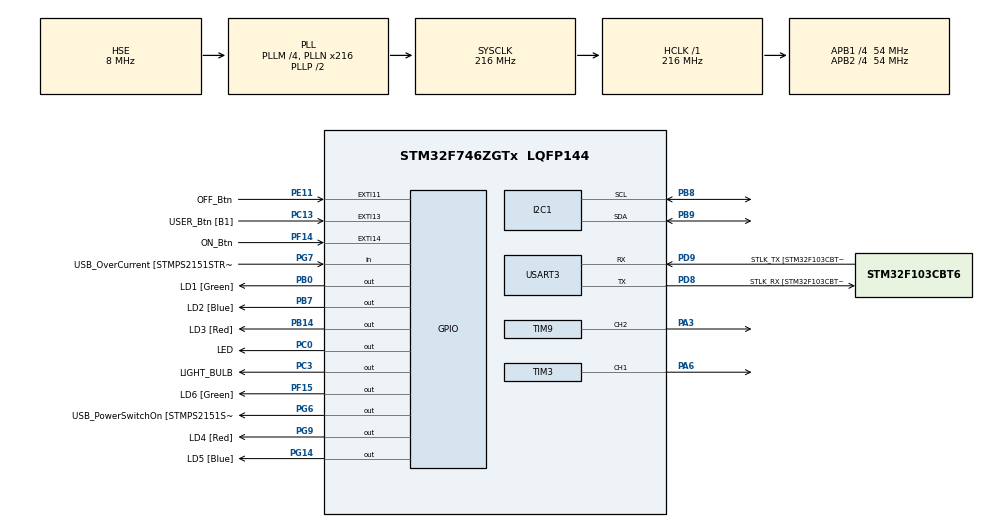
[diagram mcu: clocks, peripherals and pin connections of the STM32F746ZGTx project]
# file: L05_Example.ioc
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I2C1.Timing=0x20404768
Mcu.Family=STM32F7
Mcu.Name=STM32F746ZGTx
Mcu.Package=LQFP144
NVIC.PriorityGroup=NVIC_PRIORITYGROUP_4
NVIC.TIM3_IRQn=true\:0\:0\:false\:false\:true\:true\:true\:true
NVIC.TIM7_IRQn=true\:0\:0\:false\:false\:true\:true\:true\:true
NVIC.USART3_IRQn=true\:0\:0\:false\:false\:true\:true\:true\:true
PA1.GPIO_Label=RMII_REF_CLK [LAN8742A-CZ-TR_REFCLK0]
PA1.Signal=ETH_REF_CLK
PA10.GPIO_Label=USB_ID
PA10.Signal=USB_OTG_FS_ID
PA11.GPIO_Label=USB_DM
PA11.Signal=USB_OTG_FS_DM
PA12.GPIO_Label=USB_DP
PA12.Signal=USB_OTG_FS_DP
PA13.GPIO_Label=TMS
PA13.Mode=Serial_Wire
PA13.Signal=SYS_JTMS-SWDIO
PA14.GPIO_Label=TCK
PA14.Mode=Serial_Wire
PA14.Signal=SYS_JTCK-SWCLK
PA2.GPIO_Label=RMII_MDIO [LAN8742A-CZ-TR_MDIO]
PA2.Signal=ETH_MDIO
PA3.GPIO_PuPd=GPIO_PULLDOWN
PA3.Signal=S_TIM9_CH2
PA6.Signal=S_TIM3_CH1
PA7.GPIO_Label=RMII_CRS_DV [LAN8742A-CZ-TR_CRS_DV]
PA7.Signal=ETH_CRS_DV
PA8.GPIO_Label=USB_SOF [TP1]
PA8.Signal=USB_OTG_FS_SOF
PA9.GPIO_Label=USB_VBUS
PA9.Signal=USB_OTG_FS_VBUS
PB0.GPIO_Label=LD1 [Green]
PB0.Signal=GPIO_Output
PB13.GPIO_Label=RMII_TXD1 [LAN8742A-CZ-TR_TXD1]
PB13.Signal=ETH_TXD1
PB14.GPIO_Label=LD3 [Red]
PB14.Signal=GPIO_Output
PB3.GPIO_Label=SW0
PB3.Signal=SYS_JTDO-SWO
PB7.GPIO_Label=LD2 [Blue]
PB7.Signal=GPIO_Output
PB8.Mode=I2C
PB8.Signal=I2C1_SCL
PB9.Mode=I2C
PB9.Signal=I2C1_SDA
PC0.GPIO_Label=LED
PC0.Signal=GPIO_Output
PC1.GPIO_Label=RMII_MDC [LAN8742A-CZ-TR_MDC]
PC1.Signal=ETH_MDC
PC13.GPIO_Label=USER_Btn [B1]
PC13.Signal=GPXTI13
PC14/OSC32_IN.Mode=LSE-External-Oscillator
PC14/OSC32_IN.Signal=RCC_OSC32_IN
PC15/OSC32_OUT.Mode=LSE-External-Oscillator
PC15/OSC32_OUT.Signal=RCC_OSC32_OUT
PC3.GPIO_Label=LIGHT_BULB
PC3.Signal=GPIO_Output
PC4.GPIO_Label=RMII_RXD0 [LAN8742A-CZ-TR_RXD0]
PC4.Signal=ETH_RXD0
PC5.GPIO_Label=RMII_RXD1 [LAN8742A-CZ-TR_RXD1]
PC5.Signal=ETH_RXD1
PD8.GPIO_Label=STLK_RX [STM32F103CBT6_PA3]
PD8.GPIO_PuPd=GPIO_PULLUP
PD8.Mode=Asynchronous
PD8.Signal=USART3_TX
PD9.GPIO_Label=STLK_TX [STM32F103CBT6_PA2]
PD9.GPIO_PuPd=GPIO_PULLUP
PD9.Mode=Asynchronous
PD9.Signal=USART3_RX
PE11.GPIO_Label=OFF_Btn
PE11.GPIO_PuPd=GPIO_PULLDOWN
PE11.Signal=GPXTI11
PF14.GPIO_Label=ON_Btn
PF14.GPIO_ModeDefaultEXTI=GPIO_MODE_IT_FALLING
PF14.GPIO_PuPd=GPIO_PULLUP
PF14.Signal=GPXTI14
PF15.GPIO_Label=LD6 [Green]
PF15.Signal=GPIO_Output
PG11.GPIO_Label=RMII_TX_EN [LAN8742A-CZ-TR_TXEN]
PG11.Signal=ETH_TX_EN
PG13.GPIO_Label=RMII_TXD0 [LAN8742A-CZ-TR_TXD0]
PG13.Signal=ETH_TXD0
PG14.GPIO_Label=LD5 [Blue]
PG14.Signal=GPIO_Output
PG6.GPIO_Label=USB_PowerSwitchOn [STMPS2151STR_EN]
PG6.Signal=GPIO_Output
PG7.GPIO_Label=USB_OverCurrent [STMPS2151STR_FAULT]
PG7.Signal=GPIO_Input
PG9.GPIO_Label=LD4 [Red]
PG9.Signal=GPIO_Output
PH0/OSC_IN.GPIO_Label=MCO [STM32F103CBT6_PA8]
PH0/OSC_IN.Mode=HSE-External-Clock-Source
PH0/OSC_IN.Signal=RCC_OSC_IN
PH1/OSC_OUT.Mode=HSE-External-Clock-Source
PH1/OSC_OUT.Signal=RCC_OSC_OUT
ProjectManager.HeapSize=0x200
ProjectManager.StackSize=0x400
ProjectManager.TargetToolchain=STM32CubeIDE
RCC.48MHZClocksFreq_Value=24000000
RCC.AHBFreq_Value=216000000
RCC.APB1CLKDivider=RCC_HCLK_DIV4
RCC.APB1Freq_Value=54000000
RCC.APB1TimFreq_Value=108000000
RCC.APB2CLKDivider=RCC_HCLK_DIV4
RCC.APB2Freq_Value=54000000
RCC.APB2TimFreq_Value=108000000
RCC.CortexFreq_Value=216000000
RCC.HCLKFreq_Value=216000000
RCC.HSE_VALUE=8000000
RCC.HSI_VALUE=16000000
RCC.PLLM=4
RCC.PLLMUL=RCC_PLL_MUL9
RCC.PLLN=216
RCC.PLLQ=3
RCC.PLLSourceVirtual=RCC_PLLSOURCE_HSE
RCC.PRESCALERUSB=RCC_USBCLKSOURCE_PLL_DIV1_5
RCC.SYSCLKFreq_VALUE=216000000
RCC.SYSCLKSource=RCC_SYSCLKSOURCE_PLLCLK
RCC.SYSCLKSourceVirtual=RCC_SYSCLKSOURCE_PLLCLK
RCC.USBFreq_Value=144000000
RCC.VCOOutputFreq_Value=432000000
SH.S_TIM3_CH1.0=TIM3_CH1,PWM Generation1 CH1
SH.S_TIM9_CH2.0=TIM9_CH2,PWM Generation2 CH2
TIM1.Period=1000-1
TIM1.Prescaler=108-1
TIM3.Channel-PWM\ Generation1\ CH1=TIM_CHANNEL_1
TIM7.Period=19999
TIM7.Prescaler=1079
TIM9.Channel-PWM\ Generation2\ CH2=TIM_CHANNEL_2
TIM9.Period=999
TIM9.Prescaler=107
USART3.VirtualMode-Asynchronous=VM_ASYNC
VP_TIM1_VS_ClockSourceINT.Mode=Internal
VP_TIM3_VS_ClockSourceINT.Mode=Internal
VP_TIM7_VS_ClockSourceINT.Mode=Enable_Timer
VP_TIM9_VS_ClockSourceINT.Mode=Internal
board=NUCLEO-F746ZG

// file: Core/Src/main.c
/* USER CODE BEGIN Header */
/**
  ******************************************************************************
  * @file           : main.c
  * @brief          : Main program body
  ******************************************************************************
  * @attention
  *
  * Copyright (c) 2023 STMicroelectronics.
  * All rights reserved.
  *
  * This software is licensed under terms that can be found in the LICENSE file
  * in the root directory of this software component.
  * If no LICENSE file comes with this software, it is provided AS-IS.
  *
  ******************************************************************************
  */
/* USER CODE END Header */
#include <make_boundry.h>
#include "main.h"
#include "i2c.h"
#include "tim.h"
#include "usart.h"
#include "gpio.h"

/* USER CODE BEGIN Includes */
#include <stdio.h>
#include <stdlib.h>
#include "bh1750_config.h"
#include "bulb.h"
#include "led_config.h"

/* USER CODE END Includes */

/* USER CODE BEGIN PV */
float Illuminance_lux = 0.0f;
unsigned int Illuminance_lux_Int = 0;
/* USER CODE END PV */

void SystemClock_Config(void);

/* USER CODE BEGIN 0 */
/**
  * @brief  Period elapsed callback in non-blocking mode
  * @param  htim TIM handle
  * @retval None
  */
void HAL_TIM_PeriodElapsedCallback(TIM_HandleTypeDef *htim)
{
  if(htim == &htim7)
  {
    static unsigned int cnt = 0;
    cnt++;
    Illuminance_lux = BH1750_ReadIlluminance_lux(&hbh1750);
    Illuminance_lux_Int = Illuminance_lux * 1000.0f;

    if(cnt == 5)
    {
      uint8_t tx_buffer[32];
      int tx_msg_len = sprintf((char*)tx_buffer, "Illuminance: %5u.%03u\r", Illuminance_lux_Int / 1000, Illuminance_lux_Int % 1000);
      HAL_UART_Transmit(&huart3, tx_buffer, tx_msg_len, 100);
      cnt = 0;
    }
  }
}

/* USER CODE END 0 */

int main(void)
{

  /* MCU Configuration--------------------------------------------------------*/

  /* Reset of all peripherals, Initializes the Flash interface and the Systick. */
  HAL_Init();

  /* Configure the system clock */
  SystemClock_Config();

  /* Initialize all configured peripherals */
  MX_GPIO_Init();
  MX_USART3_UART_Init();
  MX_I2C1_Init();
  MX_TIM9_Init();
  MX_TIM7_Init();
  MX_TIM3_Init();
  MX_TIM1_Init();
  /* USER CODE BEGIN 2 */

  float Illuminance_lux_min = 0.0f;
  float Illuminance_lux_max = 0.0f;

  int size = 4;

  BH1750_Init(&hbh1750);
  HAL_TIM_Base_Start_IT(&htim7);
  HAL_TIM_Base_Start(&htim1);
  //HAL_TIM_PWM_Start(&htim3,TIM_CHANNEL_1);
  LED_PWM_Init(&hld1);

  //Bulb_State(1);

  int* tab =Light_Boundries();
  free(tab);

  /* USER CODE END 2 */

  /* Infinite loop */
  /* USER CODE BEGIN WHILE */
  while (1)
  {
   // __HAL_TIM_SET_COMPARE(&htim3, TIM_CHANNEL_1,1000);
    /* USER CODE END WHILE */

  }
}

void SystemClock_Config(void)
{
  RCC_OscInitTypeDef RCC_OscInitStruct = {0};
  RCC_ClkInitTypeDef RCC_ClkInitStruct = {0};

  /** Configure LSE Drive Capability
  */
  HAL_PWR_EnableBkUpAccess();

  /** Configure the main internal regulator output voltage
  */
  __HAL_RCC_PWR_CLK_ENABLE();
  __HAL_PWR_VOLTAGESCALING_CONFIG(PWR_REGULATOR_VOLTAGE_SCALE1);

  /** Initializes the RCC Oscillators according to the specified parameters
  * in the RCC_OscInitTypeDef structure.
  */
  RCC_OscInitStruct.OscillatorType = RCC_OSCILLATORTYPE_HSE;
  RCC_OscInitStruct.HSEState = RCC_HSE_BYPASS;
  RCC_OscInitStruct.PLL.PLLState = RCC_PLL_ON;
  RCC_OscInitStruct.PLL.PLLSource = RCC_PLLSOURCE_HSE;
  RCC_OscInitStruct.PLL.PLLM = 4;
  RCC_OscInitStruct.PLL.PLLN = 216;
  RCC_OscInitStruct.PLL.PLLP = RCC_PLLP_DIV2;
  RCC_OscInitStruct.PLL.PLLQ = 3;
  if (HAL_RCC_OscConfig(&RCC_OscInitStruct) != HAL_OK)
  {
    Error_Handler();
  }

  /** Activate the Over-Drive mode
  */
  if (HAL_PWREx_EnableOverDrive() != HAL_OK)
  {
    Error_Handler();
  }

  /** Initializes the CPU, AHB and APB buses clocks
  */
  RCC_ClkInitStruct.ClockType = RCC_CLOCKTYPE_HCLK|RCC_CLOCKTYPE_SYSCLK
                              |RCC_CLOCKTYPE_PCLK1|RCC_CLOCKTYPE_PCLK2;
  RCC_ClkInitStruct.SYSCLKSource = RCC_SYSCLKSOURCE_PLLCLK;
  RCC_ClkInitStruct.AHBCLKDivider = RCC_SYSCLK_DIV1;
  RCC_ClkInitStruct.APB1CLKDivider = RCC_HCLK_DIV4;
  RCC_ClkInitStruct.APB2CLKDivider = RCC_HCLK_DIV4;

  if (HAL_RCC_ClockConfig(&RCC_ClkInitStruct, FLASH_LATENCY_7) != HAL_OK)
  {
    Error_Handler();
  }
}

void Error_Handler(void)
{
  __disable_irq();
  while (1)
  {
  }
}
